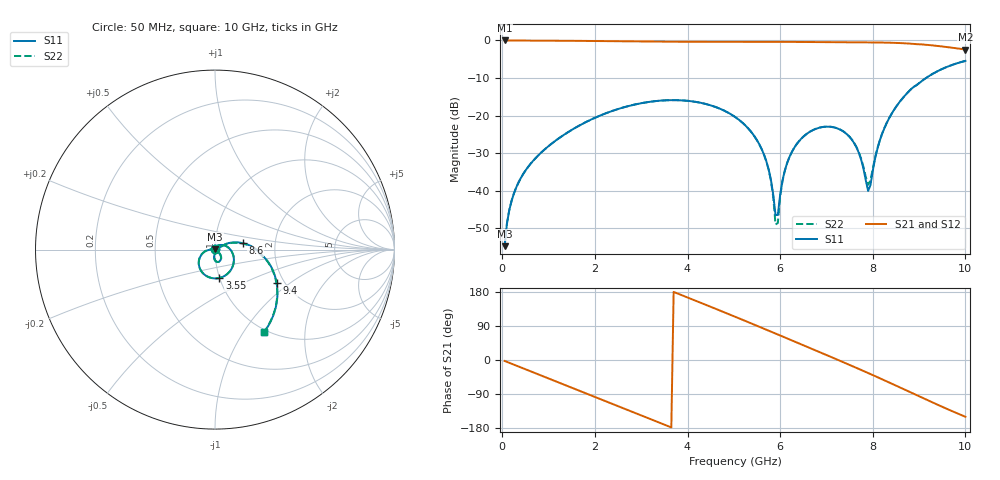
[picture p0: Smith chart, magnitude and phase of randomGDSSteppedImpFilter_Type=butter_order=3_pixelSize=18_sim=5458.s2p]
! freq	dB(S11)	phase(S11)	dB(S12)	phase(S12)
!  dB(S21)	phase(S21)	dB(S22)	phase(S22)
!S-par simulation data
#  GHz  S  DB  R 50
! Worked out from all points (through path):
!   200 points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, 50 MHz to 10 GHz, reference 50 ohm
!   highest |S21| = 0.00 dB at 50 MHz (marker M1); lowest = -2.4 dB at 10 GHz (marker M2)
!   group delay of S21, straight-line fit = 141 ps
!   lowest |S11| = -54.7 dB at 50 MHz (marker M3), VSWR 1.00, Z = 50 + j0.182 ohm
!   |S11| at or under -10 dB: start of sweep to 9.149 GHz
!   |S22| runs from -54.7 to -5.4 dB; largest |S21 - S12| = 0
!   S11 on the Smith chart (normalised r, x): 50 MHz: 1.00, +0.00; 3.55 GHz: 1.00, -0.32; 8.6 GHz: 1.36, +0.10; 9.4 GHz: 1.82, -0.80; 10 GHz: 0.97, -1.25
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0.05  -54.75 85.0  -0.00 -2.5  -0.00 -2.5  -54.75 85.0
0.2  -42.70 79.4  -0.02 -9.8  -0.02 -9.8  -42.70 79.3
0.45  -35.58 67.4  -0.03 -22.0  -0.03 -22.0  -35.58 67.4
1.75  -22.08 5.8  -0.12 -85.3  -0.12 -85.3  -22.08 5.7
2.5  -18.25 -30.7  -0.21 -121.9  -0.21 -121.9  -18.25 -30.9
3.4  -16.03 -74.3  -0.32 -165.7  -0.32 -165.7  -16.03 -74.5
3.55  -15.92 -81.5  -0.33 -173.0  -0.33 -173.0  -15.92 -81.7
4.25  -16.51 -115.0  -0.37 152.7  -0.37 152.7  -16.51 -115.4
5.05  -20.55 -153.1  -0.36 113.0  -0.36 113.0  -20.56 -153.8
5.65  -30.33 -177.8  -0.36 82.7  -0.36 82.7  -30.40 179.6
5.8  -37.03 -176.7  -0.36 75.0  -0.36 75.0  -37.29 177.5
5.9  -46.47 -140.1  -0.37 69.9  -0.37 69.9  -48.97 -150.8
6.2  -31.05 -39.9  -0.39 54.5  -0.39 54.5  -31.06 -36.7
6.7  -23.91 -59.9  -0.43 28.7  -0.43 28.7  -23.90 -58.4
7.5  -25.69 -94.5  -0.49 -13.0  -0.49 -13.0  -25.63 -92.4
7.7  -29.95 -97.5  -0.50 -23.6  -0.50 -23.6  -29.77 -94.0
7.9  -40.06 -45.2  -0.52 -34.4  -0.52 -34.4  -38.40 -43.4
8.1  -28.83 28.3  -0.54 -45.3  -0.54 -45.3  -28.68 25.0
8.35  -20.77 24.4  -0.60 -59.1  -0.60 -59.1  -20.75 23.0
8.6  -16.05 13.3  -0.70 -73.2  -0.70 -73.2  -16.04 12.5
9.4  -8.18 -28.4  -1.46 -118.0  -1.46 -118.0  -8.18 -28.7
10  -5.45 -59.0  -2.42 -149.8  -2.42 -149.8  -5.45 -59.3
